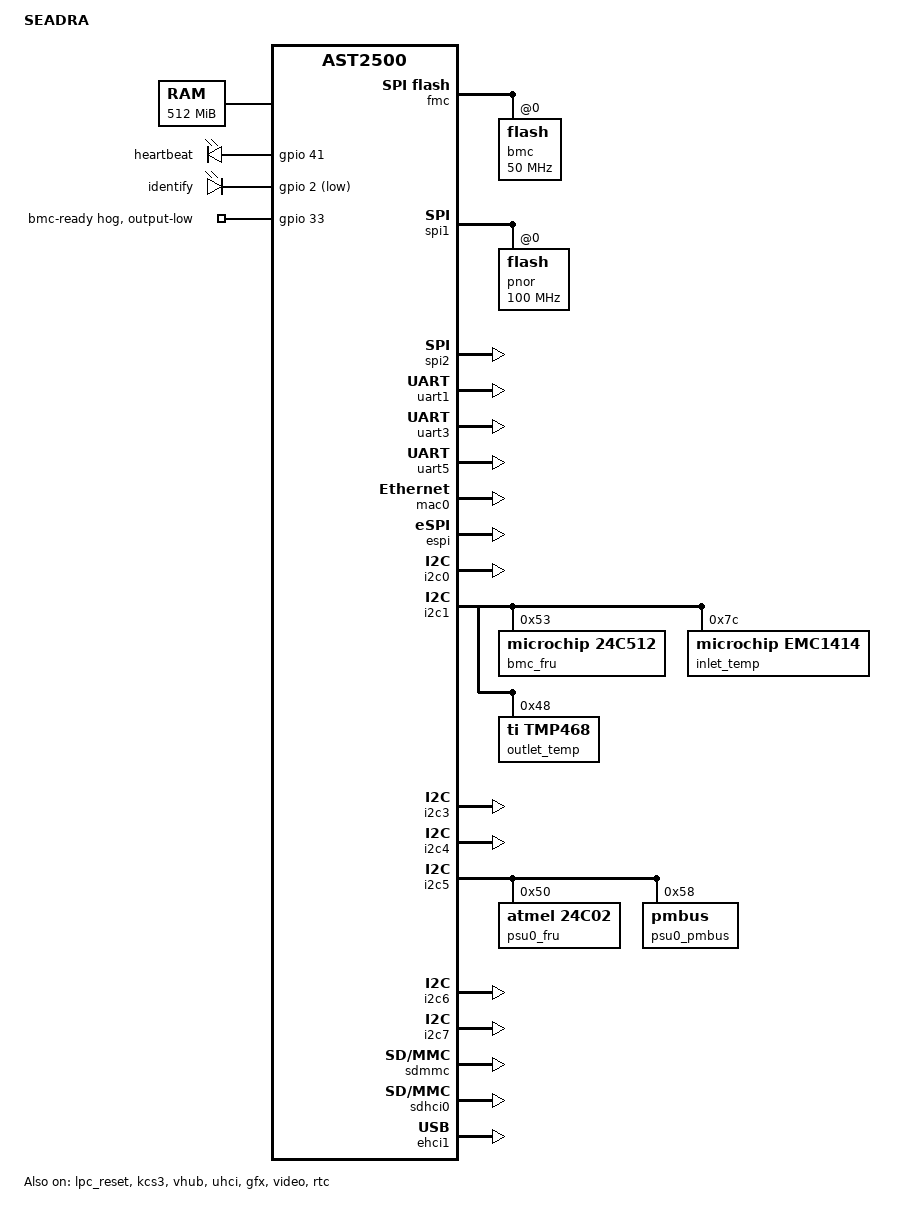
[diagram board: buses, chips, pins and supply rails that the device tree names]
// SPDX-License-Identifier: GPL-2.0+
/dts-v1/;

#include "aspeed-g5.dtsi"
#include <dt-bindings/gpio/aspeed-gpio.h>
#include <dt-bindings/interrupt-controller/irq.h>

/ {
	model = "SEADRA";
	compatible = "aspeed,ast2500-evb", "aspeed,ast2500";

	aliases {
		serial4 = &uart5;
	};

	chosen {
		stdout-path = &uart5;
		bootargs = "console=tty0 console=ttyS4,115200 earlycon";
	};

	memory@80000000 {
		reg = <0x80000000 0x20000000>;
	};

	reserved-memory {
		#address-cells = <1>;
		#size-cells = <1>;
		ranges;

		gfx_memory: framebuffer {
			size = <0x01000000>;
			alignment = <0x01000000>;
			compatible = "shared-dma-pool";
			reusable;
		};

		video_engine_memory: jpegbuffer {
			size = <0x02000000>;	/* 32M */
			alignment = <0x01000000>;
			compatible = "shared-dma-pool";
			reusable;
		};
	};

	leds {
		compatible = "gpio-leds";

		heartbeat {
			gpios = <&gpio 41 0>;
			linux,default-trigger = "timer";
		};

		identify {
            gpios = <&gpio 2 1>;
        };
	};
};

&fmc {
	status = "okay";
	flash@0 {
		status = "okay";
		m25p,fast-read;
		label = "bmc";
		spi-max-frequency = <50000000>;
		#include "openbmc-flash-layout-64.dtsi"
	};
};

&spi1 {
	status = "okay";
	flash@0 {
		status = "okay";
		m25p,fast-read;
		label = "pnor";
		spi-max-frequency = <100000000>;
	};
};

&spi2 {
	status = "okay";
};

&uart1 {
	status = "okay";
	pinctrl-names = "default";
	pinctrl-0 = <&pinctrl_txd1_default
		     	 &pinctrl_rxd1_default>;
};

&uart3 {
	status = "okay";
};

&uart5 {
	status = "okay";
};

&mac0 {
	status = "okay";

	pinctrl-names = "default";
	pinctrl-0 = <&pinctrl_rgmii1_default &pinctrl_mdio1_default>;
};

&mac1 {
	status = "disabled";

	pinctrl-names = "default";
	pinctrl-0 = <&pinctrl_rgmii2_default &pinctrl_mdio2_default>;
};

&espi {
	status = "okay";
	pinctrl-names = "default";
	pinctrl-0 = <&pinctrl_espi_default>;
};

&lpc_reset {
    status = "okay";
};

&kcs3 {
	status = "okay";
	aspeed,lpc-io-reg = <0xca2>;
};

&i2c0 {
	status = "okay";
};

&i2c1 {
	status = "okay";

	bmc_fru: eeprom@53 {
		compatible = "microchip,24c512", "atmel,24c512";
		reg = <0x53>;
		pagesize = <128>;
	};

	inlet_temp: emc1414@7c {
		compatible = "microchip,emc1414";
		reg = <0x7c>;
	};

	outlet_temp: tmp468@48 {
		compatible = "ti,tmp468";
		reg = <0x48>;
	};
};

&i2c3 {
	status = "okay";
};

&i2c4 {
	status = "okay";
};

&i2c5 {
	status = "okay";

	psu0_fru: eeprom@50 {
		compatible = "atmel,24c02";
		reg = <0x50>;
	};
	psu0_pmbus: pmbus@58 {
		compatible = "pmbus";
		reg = <0x58>;
	};
};

&i2c6 {
	status = "okay";
};

&i2c7 {
	status = "okay";
};

&sdmmc {
	status = "okay";
};

&sdhci0 {
	status = "okay";

	pinctrl-names = "default";
	pinctrl-0 = <&pinctrl_sd1_default>;
};

/*
 * Enable port A as device (via the virtual hub) and port B as
 * host by default on the eval board. This can be easily changed
 * by replacing the override below with &ehci0 { ... } to enable
 * host on both ports.
 */
&vhub {
	status = "okay";
};

&ehci1 {
	status = "okay";
};

&uhci {
	status = "okay";
};

&gfx {
	status = "okay";
	memory-region = <&gfx_memory>;
};

&video {
	status = "okay";
	memory-region = <&video_engine_memory>;
};

&rtc {
	status = "okay";
};

&gpio {
   status = "okay";
   gpio-line-names =
   /*A0-A7*/   "","","LED_UID","","","","","",
   /*B0-B7*/   "","LED_HEALTH_GREEN","LED_HEALTH_RED","","","","","ME_RECOVERY_N",
   /*C0-C7*/   "","","","","","","","",
   /*D0-D7*/   "","","","","","","","",
   /*E0-E7*/   "","BMC_READY","RESET_BUTTON","RESET_OUT","NMI_BUTTON","NMI_OUT","POWER_BUTTON","POWER_OUT",
   /*F0-F7*/   "","BMC_HEARTBEAT","","PCH_ME_DESC_OVERRIDE","","","","",
   /*G0-G7*/   "","","","","","","","",
   /*H0-H7*/   "","","","","POST_COMPLETE","","","",
   /*I0-I7*/   "","","","","","","","",
   /*J0-J7*/   "","","","","","","","",
   /*K0-K7*/   "","","","","","","","",
   /*L0-L7*/   "","","","","","","","",
   /*M0-M7*/   "","","","","","","","",
   /*N0-N7*/   "","","","","","","","",
   /*O0-O7*/   "","","","","","","","",
   /*P0-P7*/   "","","","","","","","",
   /*Q0-Q7*/   "","","","","","","","",
   /*R0-R7*/   "","","","","","","","",
   /*S0-S7*/   "","PS_PWROK","","","","","","",
   /*T0-T7*/   "","","","","","","","",
   /*U0-U7*/   "","","","","","","","",
   /*V0-V7*/   "","","","","","","","",
   /*W0-W7*/   "","","","","","","","",
   /*X0-X7*/   "","","","","","","","",
   /*Y0-Y7*/   "","","","","","","","",
   /*Z0-Z7*/   "","","","","","","","",
   /*AA0-AA7*/ "","","","","","UID_BUTTON","","",
   /*AB0-AB7*/ "","","","","","","","",
   /*AC0-AC7*/ "","","","","","","","";


	bmc-ready {
		gpio-hog;
		gpios = <33 0>;
		output-low;
	};
};

&pwm_tacho {
	status = "disabled";
	pinctrl-names = "default";
	pinctrl-0 = <&pinctrl_pwm0_default
	             &pinctrl_pwm1_default
		     	 &pinctrl_pwm2_default
		     	 &pinctrl_pwm6_default
		     	 &pinctrl_pwm4_default
		     	 &pinctrl_pwm7_default>;
	fan@0 {
		reg = <0x00>;
		aspeed,fan-tach-ch = /bits/ 8 <0x00>;
	};

	fan@1 {
		reg = <0x00>;
		aspeed,fan-tach-ch = /bits/ 8 <0x01>;
	};

	fan@2 {
		reg = <0x01>;
		aspeed,fan-tach-ch = /bits/ 8 <0x02>;
	};

	fan@3 {
		reg = <0x01>;
		aspeed,fan-tach-ch = /bits/ 8 <0x03>;
	};

	fan@4 {
		reg = <0x02>;
		aspeed,fan-tach-ch = /bits/ 8 <0x04>;
	};

	fan@5 {
		reg = <0x02>;
		aspeed,fan-tach-ch = /bits/ 8 <0x05>;
	};

	fan@6 {
		reg = <0x06>;
		aspeed,fan-tach-ch = /bits/ 8 <0x0c>;
	};

	fan@7 {
		reg = <0x06>;
		aspeed,fan-tach-ch = /bits/ 8 <0x0d>;
	};

	fan@8 {
		reg = <0x04>;
		aspeed,fan-tach-ch = /bits/ 8 <0x08>;
	};

	fan@9 {
		reg = <0x04>;
		aspeed,fan-tach-ch = /bits/ 8 <0x09>;
	};

	fan@10 {
		reg = <0x07>;
		aspeed,fan-tach-ch = /bits/ 8 <0x0e>;
	};

	fan@11 {
		reg = <0x07>;
		aspeed,fan-tach-ch = /bits/ 8 <0x0f>;
	};
};
